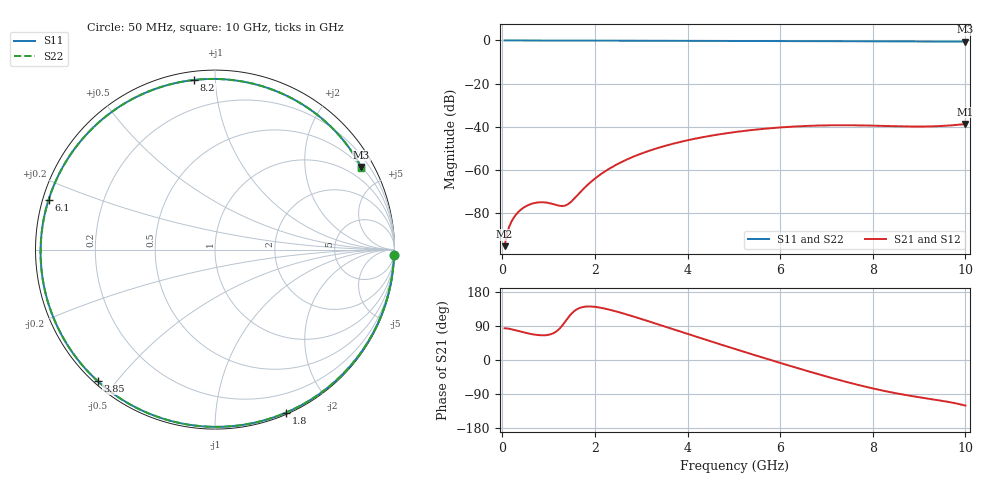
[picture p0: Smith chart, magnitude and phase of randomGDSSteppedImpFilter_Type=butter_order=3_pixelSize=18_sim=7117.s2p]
! freq	dB(S11)	phase(S11)	dB(S12)	phase(S12)
!  dB(S21)	phase(S21)	dB(S22)	phase(S22)
!S-par simulation data
#  GHz  S  DB  R 50
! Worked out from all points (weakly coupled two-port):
!   200 points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, 50 MHz to 10 GHz, reference 50 ohm
!   highest |S21| = -38.78 dB at 10 GHz (marker M1); lowest = -95.4 dB at 50 MHz (marker M2)
!   lowest |S11| = -0.6 dB at 10 GHz (marker M3), VSWR 29.92, Z = 25.4 + j187 ohm
!   |S11| at or under -10 dB: nowhere
!   |S22| runs from -0.6 to 0.0 dB; largest |S21 - S12| = 0
!   S11 on the Smith chart (normalised r, x): 50 MHz: 3, -62; 1.8 GHz: 0.02, -1.52; 3.85 GHz: 0.01, -0.45; 6.1 GHz: 0.02, +0.15; 8.2 GHz: 0.04, +0.88; 10 GHz: 0.51, +3.74
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0.05  -0.02 -1.9  -95.36 83.6  -95.36 83.6  -0.02 -1.9
0.3  -0.02 -11.5  -80.62 78.0  -80.62 78.0  -0.02 -11.5
0.55  -0.03 -21.0  -76.42 70.5  -76.42 70.5  -0.03 -21.0
0.75  -0.04 -28.5  -75.15 66.1  -75.15 66.1  -0.04 -28.5
1.35  -0.06 -50.6  -76.59 99.7  -76.59 99.7  -0.06 -50.6
1.5  -0.07 -56.0  -74.48 123.0  -74.48 123.0  -0.07 -56.0
1.75  -0.08 -64.8  -68.85 140.0  -68.85 140.0  -0.08 -64.8
1.8  -0.08 -66.5  -67.79 140.9  -67.79 140.9  -0.08 -66.5
2.1  -0.09 -76.8  -62.41 138.5  -62.41 138.5  -0.09 -76.8
2.45  -0.11 -88.5  -57.74 128.5  -57.74 128.5  -0.11 -88.5
3.4  -0.14 -118.3  -49.59 92.7  -49.59 92.7  -0.14 -118.4
3.85  -0.16 -131.8  -47.01 74.9  -47.01 74.9  -0.16 -131.8
4.45  -0.19 -149.2  -44.37 51.3  -44.37 51.3  -0.19 -149.2
5.05  -0.22 -166.4  -42.40 28.1  -42.40 28.1  -0.22 -166.4
5.6  -0.25 177.9  -41.06 7.3  -41.06 7.3  -0.25 177.9
6.1  -0.28 163.4  -40.18 -11.3  -40.18 -11.3  -0.29 163.4
6.7  -0.32 145.6  -39.53 -33.1  -39.53 -33.1  -0.32 145.5
7.5  -0.38 120.5  -39.32 -60.1  -39.32 -60.1  -0.38 120.4
8.2  -0.42 97.0  -39.60 -80.3  -39.60 -80.3  -0.42 96.9
8.35  -0.43 91.8  -39.69 -84.1  -39.69 -84.1  -0.43 91.6
9.15  -0.49 62.6  -39.89 -101.1  -39.89 -101.1  -0.49 62.4
10  -0.58 29.5  -38.78 -120.3  -38.78 -120.3  -0.58 29.3
